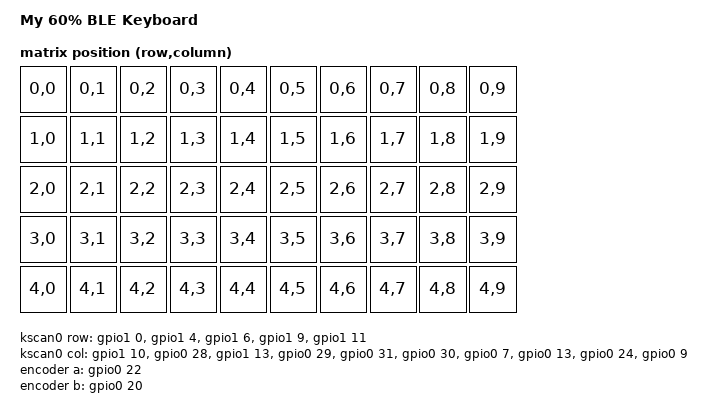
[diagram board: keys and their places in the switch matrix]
/dts-v1/;
#include <nordic/nrf52840_qiaa.dtsi>
#include <dt-bindings/zmk/matrix_transform.h>

/ {
    model = "My 60% BLE Keyboard";
    compatible = "my,60ble";

    chosen {
        zephyr,code-partition = &code_partition;
        zephyr,sram = &sram0;
        zephyr,flash = &flash0;
        zmk,kscan = &kscan0;
        zmk,matrix_transform = &default_transform;
        zmk,battery = &vbatt;
    };

    default_transform: keymap_transform_0 {
        compatible = "zmk,matrix-transform";
        columns = <10>;
        rows = <5>;
        
        map = <
            RC(0,0) RC(0,1) RC(0,2) RC(0,3) RC(0,4) RC(0,5) RC(0,6) RC(0,7) RC(0,8) RC(0,9)
            RC(1,0) RC(1,1) RC(1,2) RC(1,3) RC(1,4) RC(1,5) RC(1,6) RC(1,7) RC(1,8) RC(1,9)
            RC(2,0) RC(2,1) RC(2,2) RC(2,3) RC(2,4) RC(2,5) RC(2,6) RC(2,7) RC(2,8) RC(2,9)
            RC(3,0) RC(3,1) RC(3,2) RC(3,3) RC(3,4) RC(3,5) RC(3,6) RC(3,7) RC(3,8) RC(3,9)
            RC(4,0) RC(4,1) RC(4,2) RC(4,3) RC(4,4) RC(4,5) RC(4,6) RC(4,7) RC(4,8) RC(4,9)
        >;
    };

    kscan0: kscan {
        compatible = "zmk,kscan-gpio-matrix";
        label = "KSCAN";
        
        diode-direction = "col2row";
        
        row-gpios
            = <&gpio1  0 (GPIO_ACTIVE_HIGH | GPIO_PULL_DOWN)>
            , <&gpio1  4 (GPIO_ACTIVE_HIGH | GPIO_PULL_DOWN)>
            , <&gpio1  6 (GPIO_ACTIVE_HIGH | GPIO_PULL_DOWN)>
            , <&gpio1  9 (GPIO_ACTIVE_HIGH | GPIO_PULL_DOWN)>
            , <&gpio1 11 (GPIO_ACTIVE_HIGH | GPIO_PULL_DOWN)>
            ;
        
        col-gpios
            = <&gpio1 10 GPIO_ACTIVE_HIGH>
            , <&gpio0 28 GPIO_ACTIVE_HIGH>
            , <&gpio1 13 GPIO_ACTIVE_HIGH>
            , <&gpio0 29 GPIO_ACTIVE_HIGH>
            , <&gpio0 31 GPIO_ACTIVE_HIGH>
            , <&gpio0 30 GPIO_ACTIVE_HIGH>
            , <&gpio0  7 GPIO_ACTIVE_HIGH>
            , <&gpio0 13 GPIO_ACTIVE_HIGH>
            , <&gpio0 24 GPIO_ACTIVE_HIGH>
            , <&gpio0  9 GPIO_ACTIVE_HIGH>
            ;
    };

    encoder: encoder {
        compatible = "alps,ec11";
        label = "ENCODER";
        a-gpios = <&gpio0 22 (GPIO_ACTIVE_HIGH | GPIO_PULL_UP)>;
        b-gpios = <&gpio0 20 (GPIO_ACTIVE_HIGH | GPIO_PULL_UP)>;
        resolution = <4>;
        status = "okay";
    };

    sensors {
        compatible = "zmk,keymap-sensors";
        sensors = <&encoder>;
    };

    vbatt: vbatt {
        compatible = "zmk,battery-voltage-divider";
        label = "BATTERY";
        io-channels = <&adc 2>;
        output-ohms = <2000000>;
        full-ohms = <(2000000 + 806000)>;
    };
};

&adc {
    status = "okay";
};

&gpiote {
    status = "okay";
};

&gpio0 {
    status = "okay";
};

&gpio1 {
    status = "okay";
};

&usbd {
    status = "okay";
};

&flash0 {
    partitions {
        compatible = "fixed-partitions";
        #address-cells = <1>;
        #size-cells = <1>;

        sd_partition: partition@0 {
            label = "softdevice";
            reg = <0x00000000 0x00026000>;
        };
        
        code_partition: partition@26000 {
            label = "code_partition";
            reg = <0x00026000 0x000c6000>;
        };

        storage_partition: partition@ec000 {
            label = "storage";
            reg = <0x000ec000 0x00008000>;
        };

        boot_partition: partition@f4000 {
            label = "adafruit_boot";
            reg = <0x000f4000 0x0000c000>;
        };
    };
};
